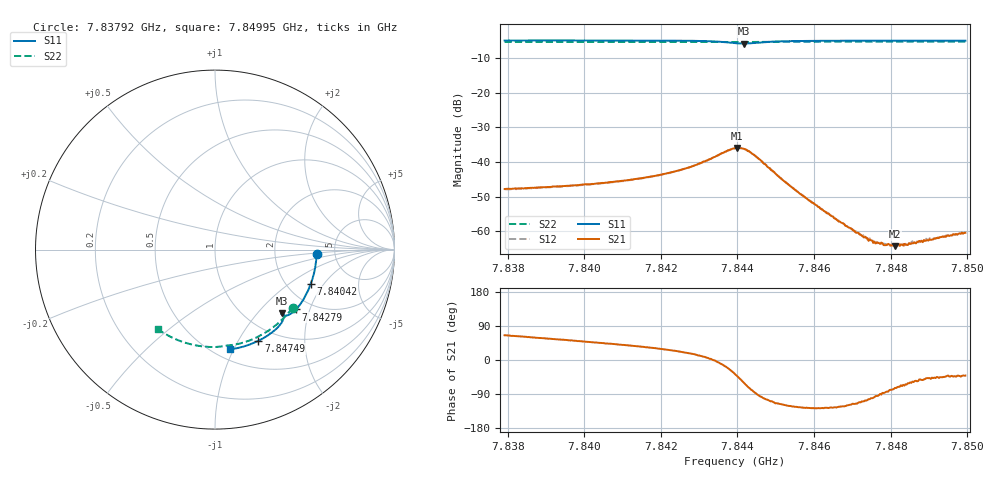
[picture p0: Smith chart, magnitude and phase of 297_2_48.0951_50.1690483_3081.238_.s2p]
#  HZ  S  RI  R  50.00
! Rohde & Schwarz Vector Network Analyzer
! Rohde-Schwarz,ZNB20-2Port,1311601062101988,3.16
! Created: UTC 12/23/2023, 4:04:22 AM
! freq[Hz]  re:S11  im:S11  re:S21  im:S21  re:S12  im:S12  re:S22  im:S22
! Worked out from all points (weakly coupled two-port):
!   401 points, 7.83792 GHz to 7.84995 GHz, reference 50 ohm
!   highest |S21| = -35.98 dB at 7.844 GHz (marker M1); lowest = -64.3 dB at 7.84812 GHz (marker M2)
!   lowest |S11| = -5.8 dB at 7.84418 GHz (marker M3), VSWR 3.10, Z = 70.9 - j67.8 ohm
!   |S11| at or under -10 dB: nowhere
!   |S22| runs from -5.4 to -5.3 dB; largest |S21 - S12| = 0.00038
!   S11 on the Smith chart (normalised r, x): 7.83792 GHz: 3.59, -0.27; 7.84042 GHz: 2.69, -1.50; 7.84279 GHz: 1.66, -1.62; 7.84749 GHz: 0.82, -1.22; 7.84995 GHz: 0.60, -0.97
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7.837919e9  0.566 -0.0252  0.0017 0.00369  0.0017 0.00363  0.4321 -0.3236
7.839934e9  0.5445 -0.1579  0.00307 0.00355  0.00301 0.00351  0.3342 -0.4249
7.840416e9  0.5345 -0.1889  0.00346 0.0035  0.00345 0.00347  0.3072 -0.445
7.841138e9  0.5158 -0.2343  0.00425 0.00342  0.00422 0.0034  0.2643 -0.4722
7.84195e9  0.4887 -0.2843  0.00559 0.00323  0.00553 0.00324  0.2131 -0.4976
7.842792e9  0.4509 -0.3337  0.00817 0.00245  0.00816 0.00245  0.1574 -0.5179
7.843484e9  0.4051 -0.3658  0.0124 -0.00118  0.0123 -0.00101  0.11 -0.5291
7.843936e9  0.3721 -0.3621  0.0125 -0.00953  0.0125 -0.00948  0.0799 -0.533
7.843996e9  0.3699 -0.3595  0.0117 -0.0108  0.0117 -0.0107  0.0761 -0.5334
7.844176e9  0.3706 -0.3528  0.00755 -0.0135  0.00766 -0.0133  0.065 -0.535
7.844447e9  0.3809 -0.3581  0.000948 -0.0124  0.00104 -0.0124  0.0475 -0.5381
7.845259e9  0.3663 -0.414  -0.00251 -0.0044  -0.00248 -0.00445  -0.00933 -0.5428
7.845951e9  0.3312 -0.4506  -0.00155 -0.00207  -0.00156 -0.00209  -0.058 -0.5405
7.846884e9  0.2782 -0.4884  -0.000562 -0.000996  -0.000578 -0.000997  -0.1231 -0.5304
7.847486e9  0.2421 -0.5078  -0.000136 -0.000726  -0.000141 -0.000712  -0.1638 -0.5195
7.847606e9  0.2348 -0.5114  -6.09e-05 -0.000662  -7.51e-05 -0.000693  -0.1717 -0.5169
7.847726e9  0.2274 -0.5148  2.99e-06 -0.000656  1.3e-05 -0.000683  -0.1799 -0.5142
7.847847e9  0.2201 -0.5181  4.24e-05 -0.000628  4.03e-05 -0.000654  -0.1879 -0.5114
7.847967e9  0.2125 -0.5213  0.000118 -0.00063  8.28e-05 -0.000624  -0.1958 -0.5086
7.848117e9  0.203 -0.525  0.000172 -0.000583  0.000183 -0.000589  -0.2057 -0.5049
7.848388e9  0.186 -0.5313  0.000281 -0.000577  0.000301 -0.000585  -0.2231 -0.4974
7.849953e9  0.0847 -0.5562  0.000714 -0.000623  0.000719 -0.000633  -0.3185 -0.4435
